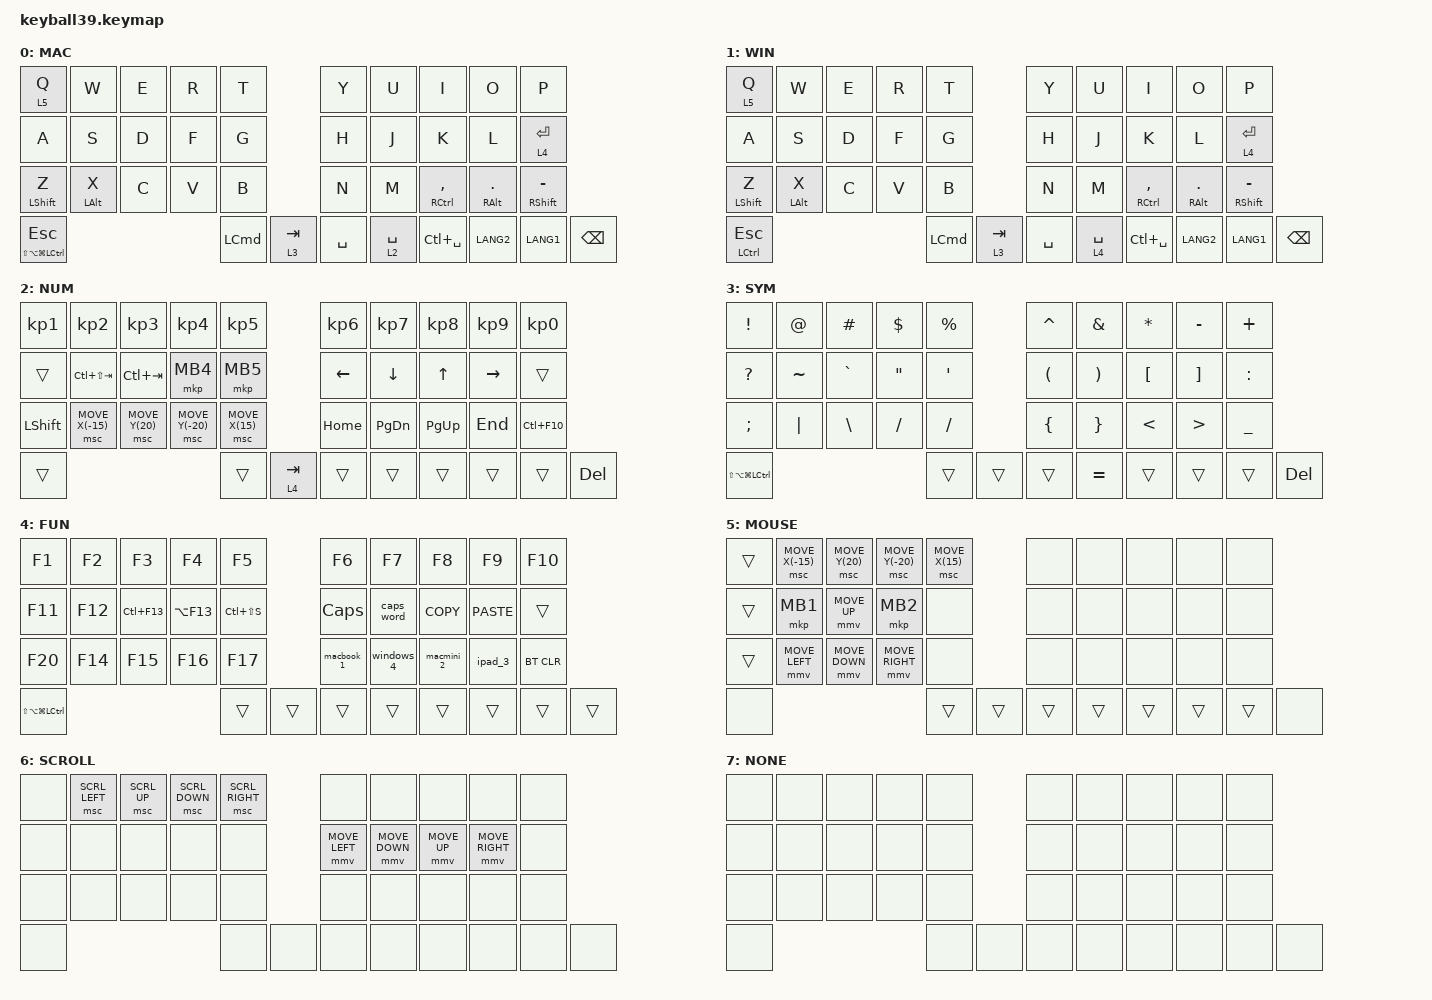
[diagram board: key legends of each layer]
#define DEFAULT 0
#define WIN     1
#define NUM     2
#define SYM     3
#define FUN     4
#define MOUSE   5
#define SCROLL  6
#define NONE    7

#include <behaviors/mouse_keys.dtsi>
#include <dt-bindings/zmk/mouse.h>
#include <behaviors.dtsi>
#include <dt-bindings/zmk/bt.h>
#include <dt-bindings/zmk/keys.h>
#include <dt-bindings/zmk/pointing.h>

&lt {
    tapping-term-ms = <240>;
    flavor = "balanced";
    quick-tap-ms = <150>;
    hold-trigger-key-positions = <>;
};

&mt {
    tapping-term-ms = <200>;
    flavor = "balanced";
    quick-tap-ms = <150>;
};

&caps_word { continue-list = <UNDERSCORE MINUS>; };

&msc {
    trigger-period-ms = <32>;
    time-to-max-speed-ms = <0>;
};

/ {
    // custom shift using mod-morph

    behaviors {
        cmqus: comma_question {
            compatible = "zmk,behavior-mod-morph";
            label = "COMMA_QUESTION";
            #binding-cells = <0>;
            bindings = <&kp COMMA>, <&kp QUESTION>;

            mods = <(MOD_LSFT|MOD_RSFT)>;
        };

        dtsmi: dot_semi {
            compatible = "zmk,behavior-mod-morph";
            label = "DOT_SEMI";
            #binding-cells = <0>;
            bindings = <&kp DOT>, <&kp SEMI>;

            mods = <(MOD_LSFT|MOD_RSFT)>;
        };
    };

    combos {
        compatible = "zmk,combos";

        OFF {
            bindings = <&to 0>;
            key-positions = <30 38>;
            layers = <0>;
        };

        ON {
            bindings = <&to 0>;
            key-positions = <30 38>;
        };

        LEFT_CLICK {
            bindings = <&mkp LCLK>;
            key-positions = <0 1>;
        };

        RIGHT_CLICK {
            bindings = <&mkp RCLK>;
            key-positions = <10 11>;
        };

        ENGLISH_KEY {
            bindings = <&kp F10>;
            key-positions = <6 7>;
        };
    };

    macros {
        macbook_1: macbook_1 {
            compatible = "zmk,behavior-macro";
            #binding-cells = <0>;
            bindings = <&to 0>, <&macro_wait_time 300>, <&bt BT_SEL 0>;

            label = "MACBOOK_1";
        };

        macmini_2: macmini_2 {
            compatible = "zmk,behavior-macro";
            #binding-cells = <0>;
            bindings = <&to 0>, <&macro_wait_time 300>, <&bt BT_SEL 1>;

            label = "MACMINI_2";
        };

        ipad_3: ipad_3 {
            compatible = "zmk,behavior-macro";
            #binding-cells = <0>;
            bindings = <&to 0>, <&macro_wait_time 300>, <&bt BT_SEL 2>;

            label = "IPAD_3";
        };

        windows_4: windows_4 {
            compatible = "zmk,behavior-macro";
            #binding-cells = <0>;
            bindings = <&to 1>, <&macro_wait_time 300>, <&bt BT_SEL 3>;

            label = "WINDOWS_4";
        };

        windows_5: windows_5 {
            compatible = "zmk,behavior-macro";
            #binding-cells = <0>;
            bindings = <&to 0>, <&macro_wait_time 300>, <&bt BT_SEL 4>;

            label = "WINDOWS_5";
        };
    };

    keymap {
        compatible = "zmk,keymap";

        mac_layer {
            label = "MAC";
            bindings = <
&lt 5 Q                    &kp W           &kp E  &kp R  &kp T                                   &kp Y        &kp U          &kp I            &kp O                 &kp P
&kp A                      &kp S           &kp D  &kp F  &kp G                                   &kp H        &kp J          &kp K            &kp L                 &lt 4 ENTER
&mt LEFT_SHIFT Z           &mt LEFT_ALT X  &kp C  &kp V  &kp B                                   &kp N        &kp M          &mt RCTRL COMMA  &mt RIGHT_ALT PERIOD  &mt RSHIFT MINUS
&mt LS(LA(LG(LCTRL))) ESC                                &kp LEFT_COMMAND  &lt 3 TAB  &kp SPACE  &lt 2 SPACE  &kp LC(SPACE)  &kp LANG2        &kp LANG1             &kp BACKSPACE
            >;
        };

        windows_layer {
            label = "WIN";
            bindings = <
&lt 5 Q           &kp W           &kp E  &kp R  &kp T                                   &kp Y        &kp U          &kp I            &kp O                 &kp P
&kp A             &kp S           &kp D  &kp F  &kp G                                   &kp H        &kp J          &kp K            &kp L                 &lt 4 ENTER
&mt LEFT_SHIFT Z  &mt LEFT_ALT X  &kp C  &kp V  &kp B                                   &kp N        &kp M          &mt RCTRL COMMA  &mt RIGHT_ALT PERIOD  &mt RSHIFT MINUS
&mt LCTRL ESC                                   &kp LEFT_COMMAND  &lt 3 TAB  &kp SPACE  &lt 4 SPACE  &kp LC(SPACE)  &kp LANG2        &kp LANG1             &kp BACKSPACE
            >;
        };

        number_layer {
            label = "NUM";
            bindings = <
&kp KP_NUMBER_1  &kp KP_NUMBER_2   &kp KP_NUMBER_3  &kp KP_NUMBER_4   &kp KP_NUMBER_5                     &kp KP_NUMBER_6  &kp KP_NUMBER_7  &kp KP_NUMBER_8  &kp KP_NUMBER_9  &kp KP_NUMBER_0
&trans           &kp LC(LS(TAB))   &kp LC(TAB)      &mkp MB4          &mkp MB5                            &kp LEFT_ARROW   &kp DOWN_ARROW   &kp UP_ARROW     &kp RIGHT_ARROW  &trans
&kp LSHIFT       &msc MOVE_X(-15)  &msc MOVE_Y(20)  &msc MOVE_Y(-20)  &msc MOVE_X(15)                     &kp HOME         &kp PG_DN        &kp PG_UP        &kp END          &kp LC(F10)
&trans                                                                &trans           &lt 4 TAB  &trans  &trans           &trans           &trans           &trans           &kp DELETE
            >;
        };

        symbol_layer {
            label = "SYM";
            bindings = <
&kp EXCLAMATION        &kp AT_SIGN  &kp HASH   &kp DOLLAR         &kp PERCENT                  &kp CARET             &kp AMPERSAND          &kp ASTERISK      &kp MINUS          &kp PLUS
&kp QUESTION           &kp TILDE    &kp GRAVE  &kp DOUBLE_QUOTES  &kp SQT                      &kp LEFT_PARENTHESIS  &kp RIGHT_PARENTHESIS  &kp LEFT_BRACKET  &kp RIGHT_BRACKET  &kp COLON
&kp SEMICOLON          &kp PIPE     &kp BSLH   &kp FSLH           &kp SLASH                    &kp LEFT_BRACE        &kp RIGHT_BRACE        &kp LESS_THAN     &kp GREATER_THAN   &kp UNDERSCORE
&kp LS(LA(LG(LCTRL)))                                             &trans       &trans  &trans  &kp EQUAL             &trans                 &trans            &trans             &kp DELETE
            >;
        };

        function_layer {
            label = "FUN";
            bindings = <
&kp F1                 &kp F2   &kp F3       &kp F4       &kp F5                         &kp F6      &kp F7      &kp F8      &kp F9       &kp F10
&kp F11                &kp F12  &kp LC(F13)  &kp LA(F13)  &kp LC(LS(S))                  &kp CAPS    &caps_word  &kp K_COPY  &kp K_PASTE  &trans
&kp F20                &kp F14  &kp F15      &kp F16      &kp F17                        &macbook_1  &windows_4  &macmini_2  &ipad_3      &bt BT_CLR
&kp LS(LA(LG(LCTRL)))                                     &trans         &trans  &trans  &trans      &trans      &trans      &trans       &trans
            >;
        };

        mouse_layer {
            label = "MOUSE";
            bindings = <
&trans  &msc MOVE_X(-15)  &msc MOVE_Y(20)  &msc MOVE_Y(-20)  &msc MOVE_X(15)                  &none   &none   &none   &none   &none
&trans  &mkp MB1          &mmv MOVE_UP     &mkp MB2          &none                            &none   &none   &none   &none   &none
&trans  &mmv MOVE_LEFT    &mmv MOVE_DOWN   &mmv MOVE_RIGHT   &none                            &none   &none   &none   &none   &none
&none                                                        &trans           &trans  &trans  &trans  &trans  &trans  &trans  &none
            >;
        };

        scroll_layer {
            label = "SCROLL";
            bindings = <
&none  &msc SCRL_LEFT  &msc SCRL_UP  &msc SCRL_DOWN  &msc SCRL_RIGHT                &none           &none           &none         &none            &none
&none  &none           &none         &none           &none                          &mmv MOVE_LEFT  &mmv MOVE_DOWN  &mmv MOVE_UP  &mmv MOVE_RIGHT  &none
&none  &none           &none         &none           &none                          &none           &none           &none         &none            &none
&none                                                &none            &none  &none  &none           &none           &none         &none            &none
            >;
        };

        none_layer {
            label = "NONE";
            bindings = <
&none  &none  &none  &none  &none                &none  &none  &none  &none  &none
&none  &none  &none  &none  &none                &none  &none  &none  &none  &none
&none  &none  &none  &none  &none                &none  &none  &none  &none  &none
&none                       &none  &none  &none  &none  &none  &none  &none  &none
            >;
        };
    };
};
